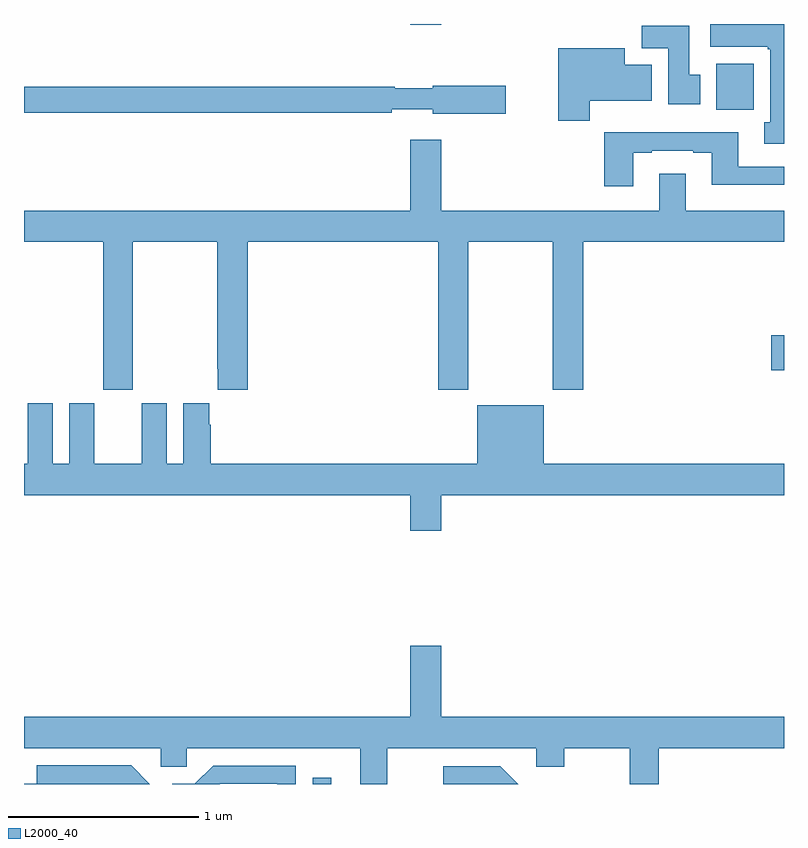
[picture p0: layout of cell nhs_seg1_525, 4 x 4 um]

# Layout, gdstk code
import gdstk
lib = gdstk.Library(unit=1e-6, precision=1e-09)
def R(c, l, rs):  # rectangles x0, y0, x1, y1
    for r in rs: c.add(gdstk.rectangle(r[:2], r[2:], *l))
def P(c, l, *ps):  # polygons
    for p in ps: c.add(gdstk.Polygon(p, *l))
L2000_40 = (2000, 40)

nhs_seg1_525 = lib.new_cell('nhs_seg1_525')
R(nhs_seg1_525, L2000_40, [(140.521,562.199,140.617,562.231), (142.932,564.377,143,564.56), (142.643,565.748,142.84,565.99), (141.032,566.196,141.196,566.199)])
P(nhs_seg1_525, L2000_40, [(143,566.199),(142.611,566.199),(142.611,566.078),(142.915,566.078),(142.915,566.065),(142.928,566.065),(142.928,565.682),(142.895,565.682),(142.895,565.569),(143,565.569)],
  [(142.558,565.932),(142.501,565.932),(142.501,566.191),(142.252,566.191),(142.252,566.072),(142.391,566.072),(142.391,565.776),(142.558,565.776)],
  [(141.978,565.796),(142.303,565.796),(142.303,565.984),(142.162,565.984),(142.162,566.071),(141.812,566.071),(141.812,565.689),(141.978,565.689)],
  [(141.535,565.874),(141.15,565.874),(141.15,565.861),(140.95,565.861),(140.95,565.868),(139,565.868),(139,565.732),(140.936,565.732),(140.936,565.751),(141.15,565.751),(141.15,565.727),(141.535,565.727)],
  [(142.207,565.521),(142.303,565.521),(142.303,565.533),(142.523,565.533),(142.523,565.521),(142.619,565.521),(142.619,565.352),(143,565.352),(143,565.449),(142.759,565.449),(142.759,565.63),(142.055,565.63),(142.055,565.344),(142.207,565.344)],
  [(139.572,565.052),(140.017,565.052),(140.017,564.385),(140.021,564.385),(140.021,564.273),(140.177,564.273),(140.177,565.052),(141.179,565.052),(141.179,564.273),(141.339,564.273),(141.339,565.052),(141.784,565.052),(141.784,564.273),(141.944,564.273),(141.944,565.052),(143,565.052),(143,565.216),(142.483,565.216),(142.483,565.411),(142.343,565.411),(142.343,565.216),(141.196,565.216),(141.196,565.591),(141.032,565.591),(141.032,565.216),(139,565.216),(139,565.052),(139.417,565.052),(139.417,564.273),(139.572,564.273)],
  [(139.238,564.202),(139.238,563.884),(139.15,563.884),(139.15,564.202),(139.019,564.202),(139.019,563.884),(139,563.884),(139,563.72),(141.032,563.72),(141.032,563.532),(141.196,563.532),(141.196,563.72),(143,563.72),(143,563.884),(141.736,563.884),(141.736,564.193),(141.386,564.193),(141.386,563.884),(139.982,563.884),(139.982,564.089),(139.975,564.089),(139.975,564.202),(139.838,564.202),(139.838,563.884),(139.75,563.884),(139.75,564.202),(139.619,564.202),(139.619,563.884),(139.369,563.884),(139.369,564.202)],
  [(140.911,562.388),(141.695,562.388),(141.695,562.289),(141.843,562.289),(141.843,562.388),(142.187,562.388),(142.187,562.199),(142.34,562.199),(142.34,562.388),(143,562.388),(143,562.552),(141.196,562.552),(141.196,562.927),(141.032,562.927),(141.032,562.552),(139,562.552),(139,562.388),(139.719,562.388),(139.719,562.29),(139.857,562.29),(139.857,562.388),(140.771,562.388),(140.771,562.199),(140.911,562.199)],
  [(139.565,562.297),(139.068,562.297),(139.068,562.2),(139,562.2),(139,562.199),(139.663,562.199)],
  [(140.031,562.2),(140.334,562.2),(140.334,562.199),(140.43,562.199),(140.43,562.296),(139.995,562.296),(139.899,562.2),(139.781,562.2),(139.781,562.199),(140.03,562.199)],
  [(141.507,562.293),(141.207,562.293),(141.207,562.199),(141.601,562.199)])

lib.write_gds('nhs_seg1_525.gds')
